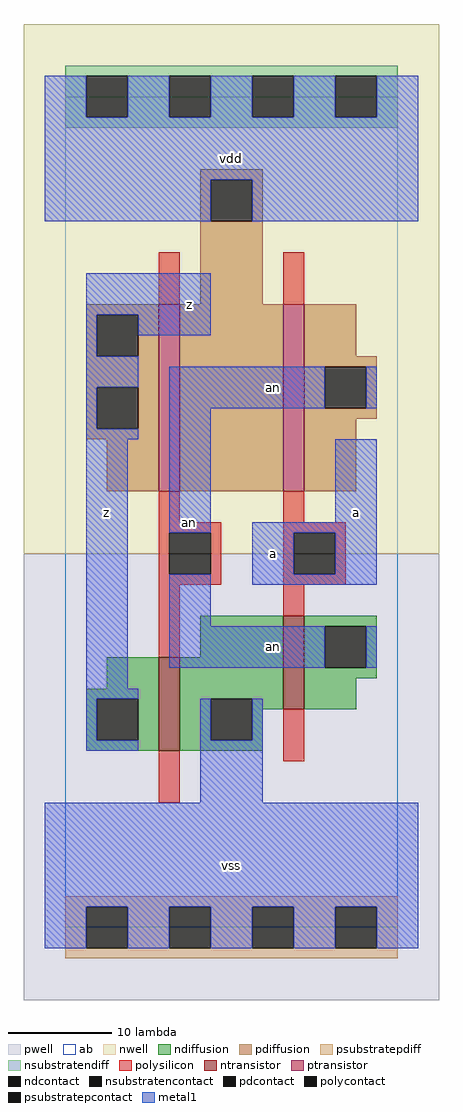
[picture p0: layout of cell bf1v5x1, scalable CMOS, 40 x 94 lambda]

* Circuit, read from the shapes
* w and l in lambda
.subckt bf1v5x1 a an vdd vss z
M1 vss an z vss nfet w=9 l=2
M2 an a vss vss nfet w=9 l=2
M3 vdd an z vdd pfet w=18 l=2
M4 an a vdd vdd pfet w=18 l=2
.ends

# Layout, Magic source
magic
tech scmos
<< ab >>
rect 0 0 32 80
<< pwell >>
rect -4 -7 36 36
<< nwell >>
rect -4 36 36 87
<< polysilicon >>
rect 9 60 11 65
rect 21 60 23 65
rect 9 39 11 42
rect 21 39 23 42
rect 9 38 15 39
rect 9 34 10 38
rect 14 34 15 38
rect 9 33 15 34
rect 21 38 27 39
rect 21 34 22 38
rect 26 34 27 38
rect 21 33 27 34
rect 9 26 11 33
rect 21 30 23 33
rect 9 12 11 17
rect 21 16 23 21
<< ndiffusion >>
rect 13 26 21 30
rect 4 23 9 26
rect 2 22 9 23
rect 2 18 3 22
rect 7 18 9 22
rect 2 17 9 18
rect 11 22 21 26
rect 11 18 14 22
rect 18 21 21 22
rect 23 29 30 30
rect 23 25 25 29
rect 29 25 30 29
rect 23 24 30 25
rect 23 21 28 24
rect 18 18 19 21
rect 11 17 19 18
<< pdiffusion >>
rect 13 72 19 73
rect 13 68 14 72
rect 18 68 19 72
rect 13 60 19 68
rect 2 59 9 60
rect 2 55 3 59
rect 7 55 9 59
rect 2 52 9 55
rect 2 48 3 52
rect 7 48 9 52
rect 2 47 9 48
rect 4 42 9 47
rect 11 42 21 60
rect 23 55 28 60
rect 23 54 30 55
rect 23 50 25 54
rect 29 50 30 54
rect 23 49 30 50
rect 23 42 28 49
<< metal1 >>
rect -2 78 2 82
rect 6 78 10 82
rect 14 78 18 82
rect 22 78 26 82
rect 30 78 34 82
rect -2 72 34 78
rect -2 68 14 72
rect 18 68 34 72
rect 2 59 14 63
rect 2 55 3 59
rect 7 57 14 59
rect 2 52 7 55
rect 2 48 3 52
rect 2 47 7 48
rect 10 50 25 54
rect 29 50 30 54
rect 2 23 6 47
rect 10 38 14 50
rect 26 39 30 47
rect 10 29 14 34
rect 18 38 30 39
rect 18 34 22 38
rect 26 34 30 38
rect 18 33 30 34
rect 10 25 25 29
rect 29 25 30 29
rect 2 22 7 23
rect 2 18 3 22
rect 2 17 7 18
rect 13 18 14 22
rect 18 18 19 22
rect 13 12 19 18
rect -2 2 34 12
rect -2 -2 2 2
rect 6 -2 10 2
rect 14 -2 18 2
rect 22 -2 26 2
rect 30 -2 34 2
<< ntransistor >>
rect 9 17 11 26
rect 21 21 23 30
<< ptransistor >>
rect 9 42 11 60
rect 21 42 23 60
<< polycontact >>
rect 10 34 14 38
rect 22 34 26 38
<< ndcontact >>
rect 3 18 7 22
rect 14 18 18 22
rect 25 25 29 29
<< pdcontact >>
rect 14 68 18 72
rect 3 55 7 59
rect 3 48 7 52
rect 25 50 29 54
<< psubstratepcontact >>
rect 2 -2 6 2
rect 10 -2 14 2
rect 18 -2 22 2
rect 26 -2 30 2
<< nsubstratencontact >>
rect 2 78 6 82
rect 10 78 14 82
rect 18 78 22 82
rect 26 78 30 82
<< psubstratepdiff >>
rect 0 2 32 3
rect 0 -2 2 2
rect 6 -2 10 2
rect 14 -2 18 2
rect 22 -2 26 2
rect 30 -2 32 2
rect 0 -3 32 -2
<< nsubstratendiff >>
rect 0 82 32 83
rect 0 78 2 82
rect 6 78 10 82
rect 14 78 18 82
rect 22 78 26 82
rect 30 78 32 82
rect 0 77 32 78
<< labels >>
rlabel metal1 4 40 4 40 6 z
rlabel metal1 12 39 12 39 6 an
rlabel metal1 12 60 12 60 6 z
rlabel metal1 16 6 16 6 6 vss
rlabel metal1 20 36 20 36 6 a
rlabel metal1 16 74 16 74 6 vdd
rlabel metal1 20 27 20 27 6 an
rlabel metal1 28 40 28 40 6 a
rlabel metal1 20 52 20 52 6 an
<< end >>
